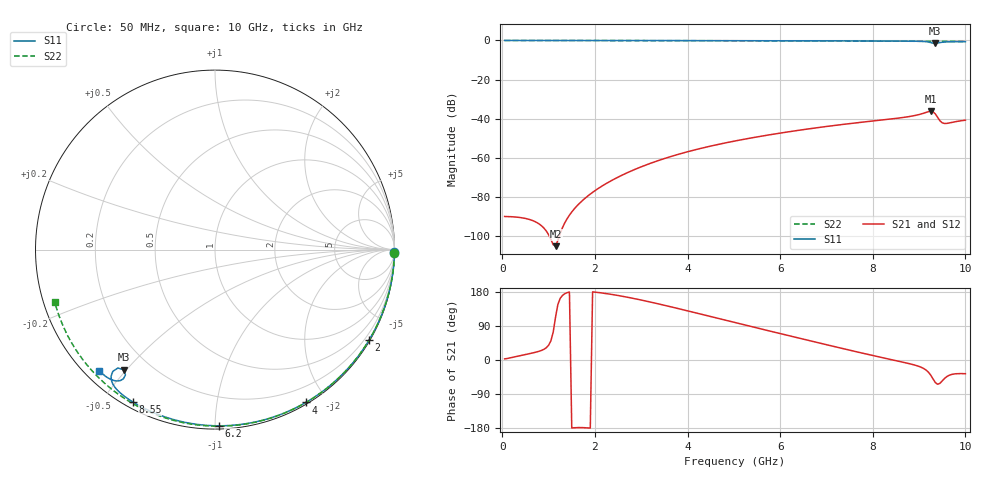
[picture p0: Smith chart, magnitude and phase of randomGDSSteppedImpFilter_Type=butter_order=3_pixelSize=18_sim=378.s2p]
! freq	dB(S11)	phase(S11)	dB(S12)	phase(S12)
!  dB(S21)	phase(S21)	dB(S22)	phase(S22)
!S-par simulation data
#  GHz  S  DB  R 50
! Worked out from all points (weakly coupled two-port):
!   200 points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, 50 MHz to 10 GHz, reference 50 ohm
!   highest |S21| = -36.14 dB at 9.25 GHz (marker M1); lowest = -105.1 dB at 1.15 GHz (marker M2)
!   lowest |S11| = -1.5 dB at 9.35 GHz (marker M3), VSWR 11.57, Z = 5.37 - j24.6 ohm
!   |S11| at or under -10 dB: nowhere
!   |S22| runs from -0.5 to 0.0 dB; largest |S21 - S12| = 0
!   S11 on the Smith chart (normalised r, x): 50 MHz: open; 2 GHz: 0.03, -3.67; 4 GHz: 0.02, -1.76; 6.2 GHz: 0.02, -1.02; 8.55 GHz: 0.02, -0.60; 10 GHz: 0.04, -0.43
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0.05  -0.00 -0.8  -89.90 3.1  -89.90 3.1  -0.00 -0.9
1.15  -0.02 -17.7  -105.05 113.1  -105.05 113.1  -0.03 -21.5
1.75  -0.03 -26.7  -81.34 -178.5  -81.34 -178.5  -0.04 -32.4
1.85  -0.04 -28.2  -79.36 -179.2  -79.36 -179.2  -0.04 -34.2
2  -0.04 -30.4  -76.73 179.1  -76.73 179.1  -0.05 -36.9
2.3  -0.04 -34.9  -72.30 174.3  -72.30 174.3  -0.05 -42.3
2.6  -0.05 -39.3  -68.63 168.0  -68.63 168.0  -0.06 -47.6
3.4  -0.07 -50.9  -61.08 147.3  -61.08 147.3  -0.08 -61.4
4  -0.08 -59.3  -56.84 129.7  -56.84 129.7  -0.10 -71.5
5.05  -0.11 -73.6  -51.21 98.0  -51.21 98.0  -0.14 -88.4
6.2  -0.16 -88.7  -46.58 63.8  -46.58 63.8  -0.19 -106.0
6.7  -0.18 -95.0  -44.87 49.1  -44.87 49.1  -0.22 -113.5
8.35  -0.29 -115.7  -40.22 2.4  -40.22 2.4  -0.35 -137.6
8.55  -0.32 -118.4  -39.66 -3.0  -39.66 -3.0  -0.37 -140.5
9  -0.43 -125.2  -37.84 -17.0  -37.84 -17.0  -0.42 -147.0
9.25  -1.06 -130.0  -36.14 -39.8  -36.14 -39.8  -0.45 -150.7
9.3  -1.38 -129.4  -36.39 -49.7  -36.39 -49.7  -0.46 -151.4
9.35  -1.50 -127.2  -37.49 -59.4  -37.49 -59.4  -0.46 -152.2
9.45  -1.09 -125.3  -41.01 -61.7  -41.01 -61.7  -0.47 -153.6
9.5  -0.91 -125.9  -42.05 -55.2  -42.05 -55.2  -0.48 -154.3
9.55  -0.79 -126.7  -42.40 -48.6  -42.40 -48.6  -0.49 -155.1
10  -0.59 -133.7  -40.72 -36.2  -40.72 -36.2  -0.54 -161.8
